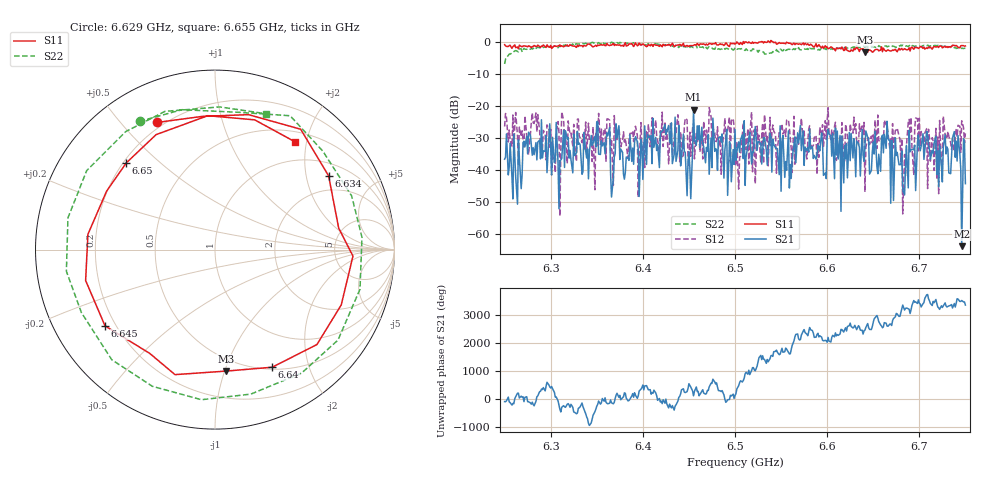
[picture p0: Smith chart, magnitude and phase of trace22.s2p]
# Hz S RI R 50
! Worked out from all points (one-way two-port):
!   401 points, 6.25 GHz to 6.75 GHz, reference 50 ohm
!   highest |S21| = -21.19 dB at 6.455 GHz (marker M1); lowest = -63.8 dB at 6.746 GHz (marker M2)
!   lowest |S11| = -3.4 dB at 6.641 GHz (marker M3), VSWR 5.24, Z = 20.1 - j50.5 ohm
!   |S11| at or under -10 dB: nowhere
!   |S22| runs from -7.0 to -0.2 dB; largest |S21 - S12| = 0.1
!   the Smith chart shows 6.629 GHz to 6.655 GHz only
!   S11 on the Smith chart (normalised r, x): 6.629 GHz: 0.18, +0.63; 6.634 GHz: 1.42, +2.71; 6.64 GHz: 0.52, -1.47; 6.645 GHz: 0.16, -0.31; 6.65 GHz: 0.21, +0.39; 6.655 GHz: 0.66, +1.80
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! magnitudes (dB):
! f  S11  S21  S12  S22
! 6.25 GHz  -1.0  -36.7  -26.5  -7.0
! 6.304 GHz  -1.3  -37.7  -36.9  -1.3
! 6.334 GHz  -1.3  -41.4  -31.5  -0.7
! 6.418 GHz  -1.5  -39.3  -34.4  -0.9
! 6.438 GHz  -1.0  -34.0  -22.8  -1.6
! 6.45 GHz  -1.5  -34.3  -39.0  -2.2
! 6.455 GHz  -1.2  -21.2  -25.6  -1.9
! 6.5 GHz  -0.8  -27.4  -33.3  -1.9
! 6.584 GHz  -1.3  -32.8  -32.6  -2.2
! 6.629 GHz  -2.2  -30.3  -23.5  -1.6
! 6.634 GHz  -2.4  -31.8  -32.2  -1.8
! 6.64 GHz  -2.7  -37.3  -25.2  -1.5
! 6.641 GHz  -3.4  -32.6  -46.9  -1.6
! 6.645 GHz  -2.6  -30.6  -30.0  -1.5
! 6.65 GHz  -3.2  -31.3  -29.1  -1.5
! 6.655 GHz  -2.5  -41.2  -22.9  -1.9
! 6.668 GHz  -2.9  -31.0  -33.5  -1.4
! 6.682 GHz  -2.6  -46.2  -53.7  -1.1
! 6.689 GHz  -2.0  -27.6  -24.2  -1.3
! 6.719 GHz  -1.7  -41.4  -43.0  -1.4
! 6.746 GHz  -1.2  -63.8  -24.7  -2.1
! 6.75 GHz  -1.4  -44.3  -28.6  -2.1
